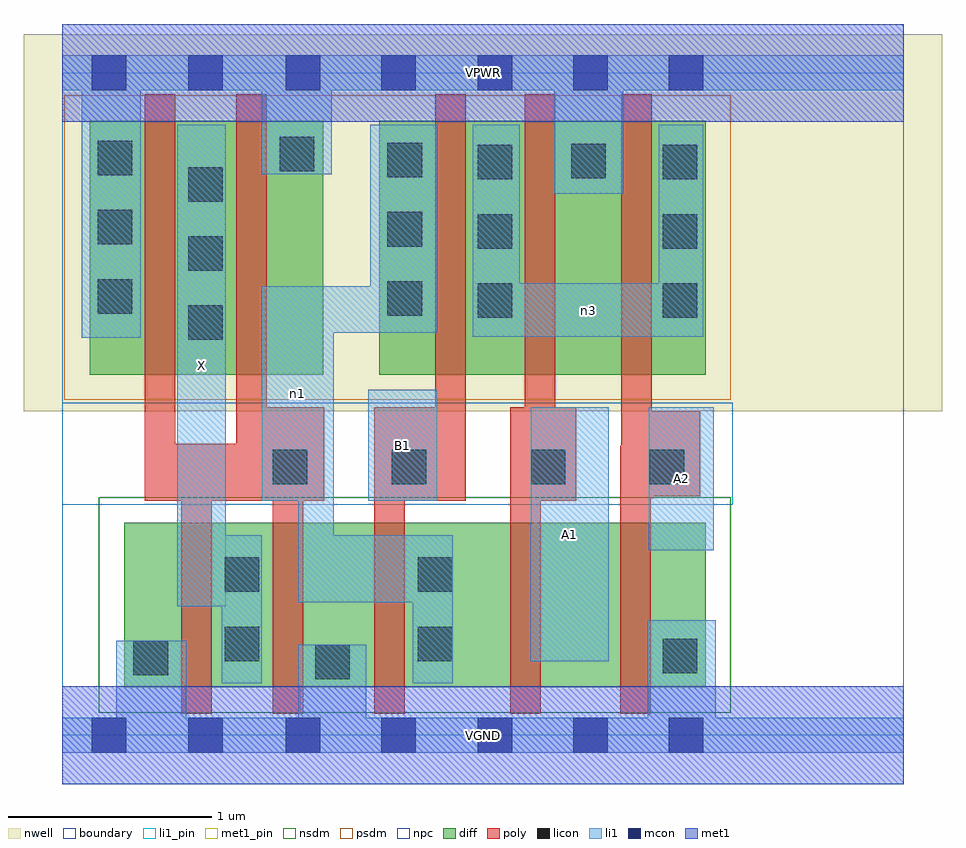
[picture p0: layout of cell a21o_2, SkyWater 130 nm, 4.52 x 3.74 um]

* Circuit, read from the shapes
.subckt a21o_2 A1 A2 B1 VGND VPWR X n1 n3
XM1 X n1 VGND VSUBS sky130_fd_pr__nfet_01v8 w=0.81 l=0.15 m=2
XM2 n1 B1 VGND VSUBS sky130_fd_pr__nfet_01v8 w=0.81 l=0.15
XM3 n2 A1 n1 VSUBS sky130_fd_pr__nfet_01v8 w=0.81 l=0.15
XM4 VGND A2 n2 VSUBS sky130_fd_pr__nfet_01v8 w=0.81 l=0.15
XM5 X n1 VPWR n4 sky130_fd_pr__pfet_01v8 w=1.25 l=0.15 m=2
XM6 n3 B1 n1 n4 sky130_fd_pr__pfet_01v8 w=1.25 l=0.15
XM7 VPWR A1 n3 n4 sky130_fd_pr__pfet_01v8 w=1.25 l=0.15
XM8 n3 A2 VPWR n4 sky130_fd_pr__pfet_01v8 w=1.25 l=0.15
.ends

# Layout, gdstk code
import gdstk
lib = gdstk.Library(unit=1e-6, precision=1e-09)
def R(c, l, rs):  # rectangles x0, y0, x1, y1
    for r in rs: c.add(gdstk.rectangle(r[:2], r[2:], *l))
def A(c, l, x, y, w, h, nx, ny, dx, dy):  # array of equal rectangles
    R(c, l, [(x+i*dx, y+j*dy, x+i*dx+w, y+j*dy+h) for i in range(nx) for j in range(ny)])
nwell = (64, 20)
diff = (65, 20)
poly = (66, 20)
licon = (66, 44)
li1_pin = (67, 16)
li1 = (67, 20)
mcon = (67, 44)
met1_pin = (68, 16)
met1 = (68, 20)
nsdm = (93, 44)
psdm = (94, 20)
npc = (95, 20)
boundary = (235, 4)

a21o_2 = lib.new_cell('a21o_2')
R(a21o_2, nwell, [(-0.19,1.595,4.33,3.45), (0,1.595,4.14,3.45)])
R(a21o_2, diff, [(0.305,0.235,3.165,1.045), (0.135,1.775,1.285,3.025), (1.56,1.775,3.165,3.025)])
R(a21o_2, poly, [(0.585,0.105,0.735,1.435), (1.035,0.105,1.185,1.615), (1.535,0.105,1.685,1.615), (2.205,0.105,2.355,1.615), (2.275,0.105,2.355,3.155), (2.745,0.105,2.895,1.425), (0.405,1.155,0.555,3.155), (0.405,1.155,1.29,1.435), (0.855,1.155,1.005,3.155), (0.855,1.155,1.29,1.615), (1.535,1.155,1.985,1.615), (1.835,1.155,1.985,3.155), (2.205,1.155,2.53,1.615), (2.355,1.155,2.425,3.155), (2.745,1.165,2.91,1.425), (2.75,1.165,2.9,3.155), (2.75,1.175,3.14,1.595)])
A(a21o_2, licon, 0.62, 1.945, 0.17, 0.17, 1, 3, 0, 0.34)
A(a21o_2, licon, 2.045, 2.055, 0.17, 0.17, 1, 3, 0, 0.34)
A(a21o_2, licon, 2.955, 2.055, 0.17, 0.17, 1, 3, 0, 0.34)
A(a21o_2, licon, 1.6, 2.065, 0.17, 0.17, 1, 3, 0, 0.34)
A(a21o_2, licon, 0.175, 2.075, 0.17, 0.17, 1, 3, 0, 0.34)
R(a21o_2, licon, [(1.245,0.275,1.415,0.445), (0.35,0.295,0.52,0.465), (2.955,0.305,3.125,0.475), (0.8,0.365,0.97,0.535), (1.75,0.365,1.92,0.535), (0.8,0.705,0.97,0.875), (1.75,0.705,1.92,0.875), (1.035,1.235,1.205,1.405), (1.62,1.235,1.79,1.405), (2.305,1.235,2.475,1.405), (2.89,1.235,3.06,1.405), (2.505,2.74,2.675,2.91), (1.07,2.775,1.24,2.945)])
R(a21o_2, li1_pin, [(2.305,0.365,2.69,1.615), (0.565,0.635,0.805,3.005), (2.885,0.91,3.205,1.615), (1.505,1.155,1.845,1.7)])
R(a21o_2, li1, [(0,-0.085,4.14,0.085), (0.265,-0.085,0.61,0.465), (1.16,-0.085,1.495,0.445), (2.88,-0.085,3.215,0.565), (0.785,0.255,0.98,0.985), (1.725,0.255,1.92,0.985), (2.305,0.365,2.69,1.615), (0.565,0.635,0.805,3.005), (1.16,0.655,1.92,0.985), (1.16,0.655,1.335,2.21), (2.885,0.91,3.205,1.615), (0.98,1.155,1.335,2.21), (1.505,1.155,1.845,1.7), (0.095,1.955,0.385,3.345), (2.02,1.96,3.155,2.225), (2.02,1.96,2.25,3.005), (2.935,1.96,3.155,3.005), (0.98,1.98,1.845,2.21), (1.515,1.98,1.845,3.005), (2.42,2.665,2.76,3.345), (0.98,2.76,1.325,3.345), (0,3.175,4.14,3.345)])
A(a21o_2, mcon, 2.045, -0.085, 0.17, 0.17, 3, 2, 0.47, 3.26)
R(a21o_2, mcon, [(0.145,-0.085,0.315,0.085), (0.62,-0.085,0.79,0.085), (1.1,-0.085,1.27,0.085), (1.57,-0.085,1.74,0.085), (0.145,3.175,0.315,3.345), (0.62,3.175,0.79,3.345), (1.1,3.175,1.27,3.345), (1.57,3.175,1.74,3.345)])
R(a21o_2, met1_pin, [(0,-0.24,4.14,0.24), (0,3.02,4.14,3.5)])
R(a21o_2, met1, [(0,-0.24,4.14,0.24), (0,3.02,4.14,3.5)])
R(a21o_2, nsdm, [(0.18,0.11,3.29,1.17)])
R(a21o_2, psdm, [(0.01,1.65,3.29,3.15)])
R(a21o_2, npc, [(0,1.135,3.3,1.635)])
R(a21o_2, boundary, [(0,0,4.14,3.26)])
a21o_2.add(gdstk.Label('A1', (2.497,0.99), layer=67, texttype=5))
a21o_2.add(gdstk.Label('A2', (3.045,1.262), layer=67, texttype=5))
a21o_2.add(gdstk.Label('B1', (1.675,1.427), layer=67, texttype=5))
a21o_2.add(gdstk.Label('X', (0.685,1.82), layer=67, texttype=5))
a21o_2.add(gdstk.Label('n1', (1.157,1.682), layer=67, texttype=5))
a21o_2.add(gdstk.Label('n3', (2.587,2.092), layer=67, texttype=5))
a21o_2.add(gdstk.Label('VPWR', (2.07,3.26), layer=68, texttype=5))
a21o_2.add(gdstk.Label('VGND', (2.07,0), layer=68, texttype=5))
a21o_2.add(gdstk.Label('A1', (2.497,0.99), layer=67, texttype=16))
a21o_2.add(gdstk.Label('A2', (3.045,1.262), layer=67, texttype=16))
a21o_2.add(gdstk.Label('B1', (1.675,1.427), layer=67, texttype=16))
a21o_2.add(gdstk.Label('X', (0.685,1.82), layer=67, texttype=16))
a21o_2.add(gdstk.Label('VPWR', (2.07,3.26), layer=68, texttype=16))
a21o_2.add(gdstk.Label('VGND', (2.07,0), layer=68, texttype=16))

lib.write_gds('a21o_2.gds')
